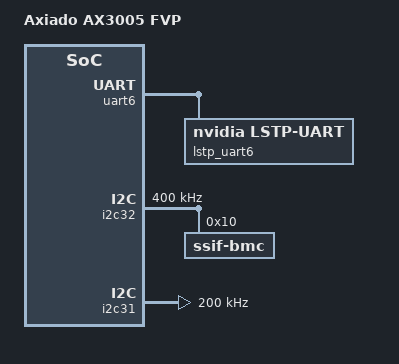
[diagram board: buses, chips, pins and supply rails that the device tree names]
// SPDX-License-Identifier: GPL-2.0+
/*
 * DTS file for FVP model of Axiado AX3005 SoC Evaluation board
 */

/dts-v1/;

#include <dt-bindings/gpio/gpio.h>

#include "ax3005_evk.dts"

/ {
	model = "Axiado AX3005 FVP";

        lstp: lstp {
                compatible = "nvidia,lstp";
                #address-cells = <1>;
                #size-cells = <0>;

                channel@0 {
                        reg = <0>;
                        nvidia,channel-type = "management";
                        nvidia,channel-name = "AXIADO_AX3005_EVK";
                };

                channel@1 {
                        reg = <1>;
                        nvidia,channel-type = "spi";
                        nvidia,channel-name = "SPI";
			spi = <&lstp_spi_cs0>, <&lstp_spi_cs1>;
                };

                channel@2 {
                        reg = <2>;
                        nvidia,channel-type = "gpio";
                        nvidia,channel-name = "GPIO";
                        #address-cells = <1>;
                        #size-cells = <0>;

                        /* gpio4 offset 0 == global line 128 */
                        pin@0 {
                                reg = <0>;
                                label = "fvp_gpio_out";
                                gpios = <&gpio4 0 GPIO_ACTIVE_HIGH>;
                                nvidia,allow-direction-control;
                                nvidia,allow-set-irq;
                                nvidia,drive = "push-pull";
                        };

                        /* gpio4 offset 1 == global line 129 */
                        pin@1 {
                                reg = <1>;
                                label = "fvp_gpio_in";
                                gpios = <&gpio4 1 GPIO_ACTIVE_HIGH>;
                                nvidia,allow-set-irq;
                                nvidia,bias = "pull-up";
                        };
                };

                channel@3 {
                        reg = <3>;
                        nvidia,channel-type = "i2c";
                        nvidia,channel-name = "I2C2";
                        i2c-parent = <&i2c2>;
                        nvidia,i2c-speed = <100000>;
                };

                channel@4 {
                        reg = <4>;
                        nvidia,channel-type = "uart";
                        nvidia,channel-name = "UART6";
                        uart = <&lstp_uart6>;
                        current-speed = <115200>;
                        nvidia,parity = "none";
                        nvidia,flow-control = "none";
                };

                /*
                 * No controller behind this one: the channel registers a
                 * serial driver of its own and shows up locally as
                 * /dev/ttyVUART0, so the LSTP host talks to software running
                 * on this machine.  The settings below only seed what the
                 * channel reports through the management ReadConfig command.
                 */
                channel@5 {
                        reg = <5>;
                        nvidia,channel-type = "virtual-uart";
                        nvidia,channel-name = "VUART0";
                        current-speed = <115200>;
                        nvidia,data-bits = <8>;
                        nvidia,stop-bits = <1>;
                        nvidia,parity = "none";
                        nvidia,flow-control = "none";
                };
        };
};

/**
 * uart6 is the one handed to the LSTP host. Claiming
 * it through serdev takes /dev/ttyPS6 away from userspace for as long as the
 * LSTP channel exists.
 */
&uart6 {
	lstp_uart6: serial-lstp {
		compatible = "nvidia,lstp-uart";
	};
};

&gpio4 {
	compatible = "cdns,gpio-r1p02";

	gpio-line-names =
	/*128-135*/       "fvp_gpio_out","fvp_gpio_in","","","","","","",
	/*136-143*/       "","","","","","","","",
	/*144-151*/       "","","","","","","","",
	/*152-159*/       "pwr_req","pgood_ok","","","","","","";
};

/**
 * J35, short i2c-31 and i2c-32 with pull high resister.
 * i2c-32 be ssif slave, slave clock frequency should double to master
 */
&i2c32 {
	clock-frequency = <400000>;

	ssif-bmc@10 {
		compatible = "ssif-bmc";
		reg = <0x10>;
	};
};

&i2c31 {
	clock-frequency = <200000>;
};

&usb2_0 {
	compatible = "axiado,ax3000-udc";
};

&usb3_1 {
	compatible = "axiado,ax3000-udc";
};
